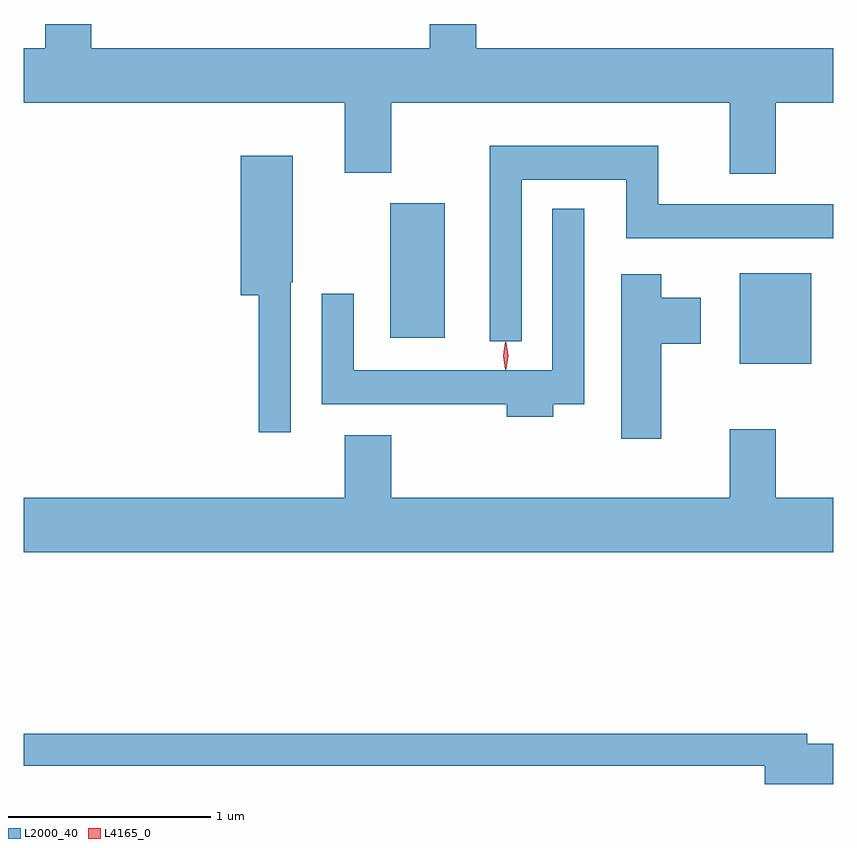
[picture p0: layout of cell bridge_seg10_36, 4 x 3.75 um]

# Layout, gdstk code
import gdstk
lib = gdstk.Library(unit=1e-6, precision=1e-09)
def R(c, l, rs):  # rectangles x0, y0, x1, y1
    for r in rs: c.add(gdstk.rectangle(r[:2], r[2:], *l))
def P(c, l, *ps):  # polygons
    for p in ps: c.add(gdstk.Polygon(p, *l))
L2000_40 = (2000, 40)
L4165_0 = (4165, 0)

bridge_seg10_36 = lib.new_cell('bridge_seg10_36')
R(bridge_seg10_36, L2000_40, [(1590.801,2179.226,1591.154,2179.674), (1589.076,2179.356,1589.344,2180.019)])
P(bridge_seg10_36, L2000_40, [(1590.979,2180.516),(1591.264,2180.516),(1591.264,2180.784),(1589.499,2180.784),(1589.499,2180.905),(1589.271,2180.905),(1589.271,2180.784),(1587.599,2180.784),(1587.599,2180.905),(1587.371,2180.905),(1587.371,2180.784),(1587.264,2180.784),(1587.264,2180.516),(1588.851,2180.516),(1588.851,2180.171),(1589.079,2180.171),(1589.079,2180.516),(1590.751,2180.516),(1590.751,2180.166),(1590.979,2180.166)],
  [(1589.724,2180.136),(1590.241,2180.136),(1590.241,2179.846),(1591.264,2179.846),(1591.264,2180.014),(1590.399,2180.014),(1590.399,2180.304),(1589.566,2180.304),(1589.566,2179.338),(1589.724,2179.338)],
  [(1588.584,2179.63),(1588.594,2179.63),(1588.594,2180.254),(1588.336,2180.254),(1588.336,2179.566),(1588.426,2179.566),(1588.426,2178.888),(1588.584,2178.888)],
  [(1589.879,2179.026),(1590.034,2179.026),(1590.034,2179.993),(1589.876,2179.993),(1589.876,2179.194),(1588.894,2179.194),(1588.894,2179.573),(1588.736,2179.573),(1588.736,2179.026),(1589.651,2179.026),(1589.651,2178.966),(1589.879,2178.966)],
  [(1590.414,2179.326),(1590.609,2179.326),(1590.609,2179.554),(1590.414,2179.554),(1590.414,2179.669),(1590.216,2179.669),(1590.216,2178.856),(1590.414,2178.856)],
  [(1591.264,2178.564),(1590.979,2178.564),(1590.979,2178.904),(1590.751,2178.904),(1590.751,2178.564),(1589.079,2178.564),(1589.079,2178.874),(1588.851,2178.874),(1588.851,2178.564),(1587.264,2178.564),(1587.264,2178.296),(1591.264,2178.296)],
  [(1591.264,2177.349),(1591.134,2177.349),(1591.134,2177.399),(1587.264,2177.399),(1587.264,2177.241),(1590.926,2177.241),(1590.926,2177.151),(1591.264,2177.151)])
P(bridge_seg10_36, L4165_0, [(1589.643,2179.197),(1589.634,2179.266),(1589.643,2179.336),(1589.644,2179.336),(1589.644,2179.336),(1589.654,2179.266),(1589.644,2179.197),(1589.644,2179.197)],
  [(1589.646,2179.2),(1589.637,2179.266),(1589.646,2179.332),(1589.646,2179.333),(1589.647,2179.332),(1589.657,2179.266),(1589.647,2179.2),(1589.647,2179.2)])

lib.write_gds('bridge_seg10_36.gds')
